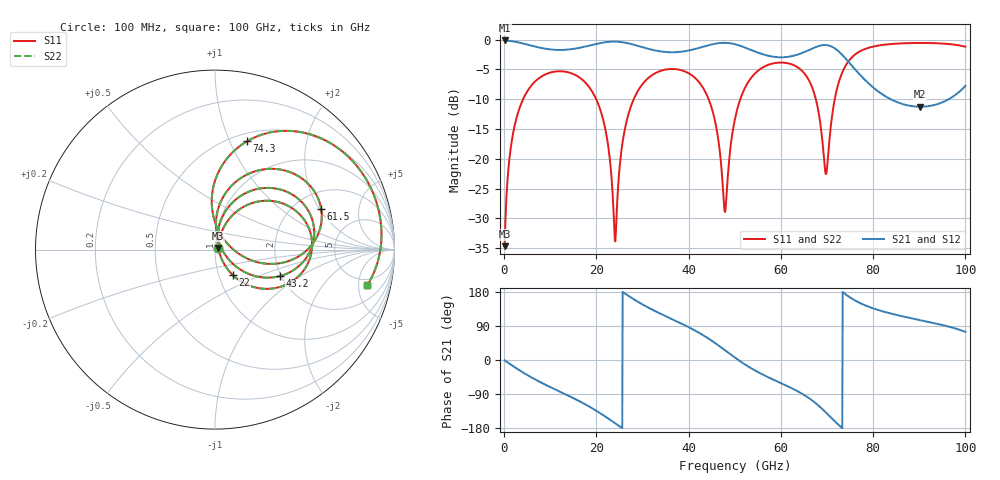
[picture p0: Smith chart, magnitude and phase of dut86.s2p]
! Touchstone file exported from HFSS 2026.1.0
!  File:  C:/ffzhzh/LocalFiles/Ansys_Project_Files/temp_train_TSV_RDL_86_1783630041_29156.aedt
!  Generated:  04:53:08 AM Jul 10, 2026
!  Design:  TSV_RDL
!  Project:  temp_train_TSV_RDL_86_1783630041_29156
! Variables:
!  h_bsmrdl = 3.23um
!  h_ox = 20um
!  h_rdl = 5um
!  h_sub = 50.72um
!  h_tmrdl = 2.74um
!  h_tsv = 50.72um
!  h_via = 3um
!  l_bsmrdl = 261.29um
!  l_sub = 2346.88um
!  l_tmrdl = 262.74um
!  m_sub = 200um
!  pitch = 52.59um
!  r_tsv = 14.51um
!  s_tmrdl = 10um
!  w_bsmrdl = 25.76um
!  w_sub = 500um
!  w_tmrdl = 11.59um
!  x_tsv_center1 = 268.535um
!  x_tsv_center2 = 555.585um
!  x_tsv_center3 = 829.915um
!  x_tsv_center4 = 1116.965um
!  x_tsv_center5 = 1391.295um
!  x_tsv_center6 = 1678.345um
# GHz S MA R 50.000000
! Terminal data exported
! Port[1] = TM_RDL1_1_T1
! Port[2] = TM_RDL5_1_T1
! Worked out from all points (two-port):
!   1000 points, 100 MHz to 100 GHz, reference 50 ohm
!   highest |S21| = -0.14 dB at 100 MHz (marker M1); lowest = -11.3 dB at 90.2 GHz (marker M2)
!   |S21| within 3 dB of the highest: start of sweep to 73.99 GHz
!   lowest |S11| = -34.7 dB at 100 MHz (marker M3), VSWR 1.04, Z = 51.6 + j0.926 ohm
!   |S11| at or under -10 dB: 19.95 GHz to 28.1 GHz (8.145 GHz wide, 33.9 % of centre); 44.33 GHz to 51.2 GHz (6.869 GHz wide, 14.4 % of centre); 67.57 GHz to 71.68 GHz (4.103 GHz wide, 5.89 % of centre) (the widest 3 of 4)
!   |S22| runs from -34.7 to -0.6 dB; largest |S21 - S12| = 1.9e-13
!   S11 on the Smith chart (normalised r, x): 100 MHz: 1.03, +0.02; 22 GHz: 1.17, -0.34; 43.2 GHz: 1.97, -0.69; 61.5 GHz: 2.76, +2.07; 74.3 GHz: 0.58, +1.16; 100 GHz: 3.90, -6.40
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0.1  0.01845 29.1  0.984 -0.9  0.984 -0.9  0.01845 29.1
! Gamma 0 0 0 0
! Port Impedance 50 0 50 0
1.6  0.1369 68.4  0.9714 -13.4  0.9714 -13.4  0.1369 68.4
4.5  0.3394 50.5  0.9198 -36.0  0.9198 -36.0  0.3394 50.5
10.9  0.5382 11.6  0.8217 -76.7  0.8217 -76.7  0.5382 11.6
16.8  0.4662 -22.1  0.8606 -111.8  0.8606 -111.8  0.4662 -22.1
22  0.1721 -55.0  0.9514 -149.8  0.9514 -149.8  0.1721 -55.2
24.1  0.02026 20.4  0.9618 -167.3  0.9618 -167.3  0.01986 20.5
27  0.2404 73.1  0.9289 168.8  0.9289 168.8  0.2404 73.2
33.4  0.5368 33.3  0.8023 125.0  0.8023 125.0  0.5368 33.3
43.2  0.3894 -22.3  0.8727 65.0  0.8727 65.0  0.3894 -22.3
45.9  0.1916 -37.8  0.9265 43.3  0.9265 43.3  0.1916 -37.9
47.8  0.0364 13.5  0.9402 26.5  0.9402 26.5  0.03595 13.2
50.1  0.2209 85.9  0.9136 5.8  0.9136 5.8  0.2207 86.0
55  0.5466 55.4  0.7784 -31.7  0.7784 -31.7  0.5464 55.5
61.5  0.6333 20.8  0.7165 -69.5  0.7165 -69.5  0.6331 20.9
66.7  0.4038 -9.7  0.8386 -105.9  0.8386 -105.9  0.4035 -9.6
69.8  0.07438 41.9  0.8998 -139.1  0.8998 -139.1  0.07451 42.2
71.8  0.3345 92.1  0.8379 -163.2  0.8379 -163.2  0.3348 92.1
74.3  0.6287 73.6  0.6752 170.9  0.6752 170.9  0.6289 73.6
83.4  0.9146 31.7  0.3221 124.0  0.3221 124.0  0.9146 31.7
90.2  0.9377 14.4  0.2733 105.2  0.2733 105.2  0.9377 14.4
100  0.8718 -13.1  0.4088 74.3  0.4088 74.3  0.8716 -13.0
